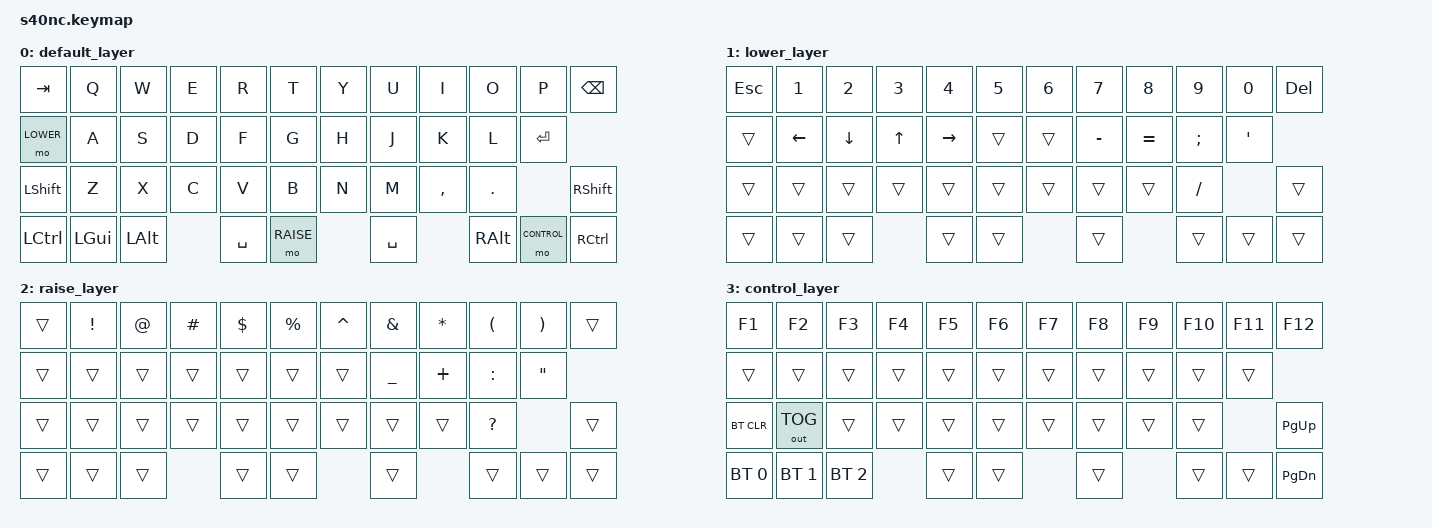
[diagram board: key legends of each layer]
/*
 * Copyright (c) 2021 Kyle McCreery
 *
 * SPDX-License-Identifier: MIT
 */

#include <behaviors.dtsi>
#include <dt-bindings/zmk/keys.h>
#include <dt-bindings/zmk/bt.h>
#include <dt-bindings/zmk/outputs.h>
#include <dt-bindings/zmk/reset.h>

#define DEFAULT 0
#define LOWER   1
#define RAISE   2
#define CONTROL 3

/ {
	keymap {
		compatible = "zmk,keymap";
		
	default_layer {
			bindings = <
                &kp TAB     &kp Q     &kp W     &kp E     &kp R     &kp T     &kp Y     &kp U     &kp I     &kp O     &kp P     &kp BSPC
                &mo LOWER   &kp A     &kp S     &kp D     &kp F     &kp G     &kp H     &kp J     &kp K     &kp L         &kp ENTER
                &kp LSHFT   &kp Z     &kp X     &kp C     &kp V     &kp B     &kp N     &kp M     &kp COMMA     &kp DOT     &kp RSHFT
                &kp LCTRL   &kp LGUI  &kp LALT        &kp SPACE       &mo RAISE        &kp SPACE        &kp RALT  &mo CONTROL   &kp RCTRL
			>;
		};

	lower_layer {
			bindings = <
                &kp ESC     &kp N1     &kp N2     &kp N3     &kp N4     &kp N5     &kp N6     &kp N7     &kp N8     &kp N9     &kp N0     &kp DEL
	        &trans      &kp LEFT   &kp DOWN   &kp UP     &kp RIGHT  &trans     &trans     &kp MINUS  &kp EQUAL  &kp SEMI       &kp APOS
                &trans      &trans     &trans     &trans     &trans     &trans     &trans     &trans     &trans       &kp SLASH      &trans
                &trans      &trans     &trans         &trans           &trans          &trans            &trans       &trans       &trans
			>;
		};
        
        raise_layer {
			bindings = <
                &trans     &kp EXCL    &kp AT     &kp HASH   &kp DLLR   &kp PRCNT  &kp CARET   &kp AMPS   &kp STAR   &kp LPAR   &kp RPAR   &trans
                &trans     &trans      &trans     &trans     &trans     &trans     &trans      &kp UNDER  &kp PLUS   &kp COLON      &kp DQT
                &trans     &trans      &trans     &trans     &trans     &trans     &trans      &trans     &trans     &kp QMARK     &trans
                &trans     &trans      &trans          &trans          &trans          &trans             &trans     &trans      &trans
			>;
		};
        
        control_layer {
			bindings = <
                &kp F1      &kp F2        &kp F3    &kp F4    &kp F5    &kp F6    &kp F7    &kp F8    &kp F9    &kp F10    &kp F11    &kp F12
                &trans      &trans        &trans    &trans    &trans    &trans    &trans    &trans    &trans    &trans          &trans
                &bt BT_CLR    &out OUT_TOG  &trans    &trans    &trans    &trans    &trans    &trans    &trans    &trans        &kp PG_UP
                &bt BT_SEL 0  &bt BT_SEL 1  &bt BT_SEL 2        &trans       &trans        &trans       &trans    &trans       &kp PG_DN
			>;
		};
	};
};
